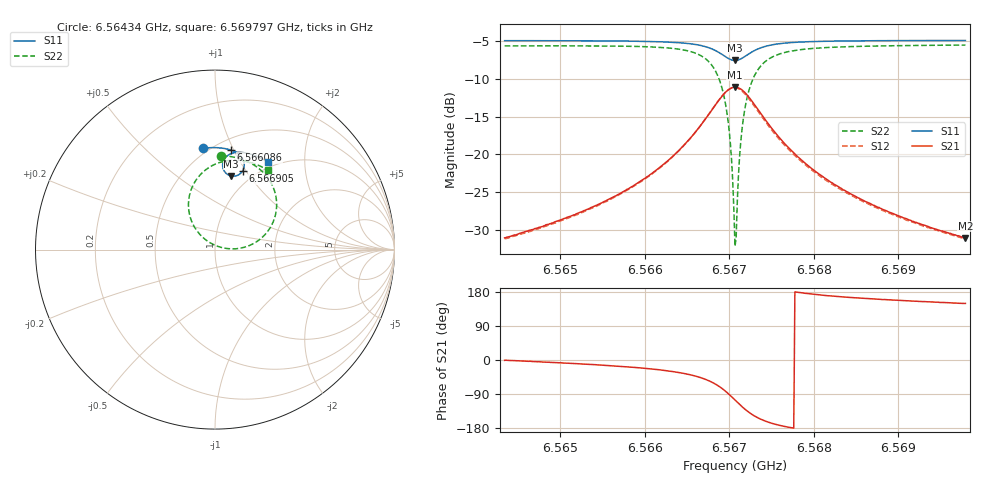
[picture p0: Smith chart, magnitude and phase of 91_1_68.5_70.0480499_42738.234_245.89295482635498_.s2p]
#  HZ  S  RI  R  50.00
! Rohde & Schwarz Vector Network Analyzer
! Rohde-Schwarz,ZNB20-2Port,1311601062101988,3.16
! Created: UTC 3/20/2024, 5:07:48 PM
! freq[Hz]  re:S11  im:S11  re:S21  im:S21  re:S12  im:S12  re:S22  im:S22
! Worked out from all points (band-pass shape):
!   401 points, 6.56434 GHz to 6.569797 GHz, reference 50 ohm
!   highest |S21| = -11.06 dB at 6.567068 GHz (marker M1); lowest = -31.1 dB at 6.569797 GHz (marker M2)
!   |S21| within 3 dB of the highest: 6.566797 GHz to 6.567342 GHz (544.7 kHz wide, 0.00829 % of centre)
!   lowest |S11| = -7.5 dB at 6.567068 GHz (marker M3), VSWR 2.45, Z = 41.3 + j41.2 ohm
!   |S11| at or under -10 dB: nowhere
!   |S22| runs from -32.2 to -5.5 dB; largest |S21 - S12| = 0.013
!   S11 on the Smith chart (normalised r, x): 6.56434 GHz: 0.47, +0.78; 6.566086 GHz: 0.60, +0.97; 6.566905 GHz: 0.86, +0.97; 6.569797 GHz: 0.92, +1.33
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6.56434e9  -0.0642 0.5654  0.0279 -0.000439  0.0274 -0.000693  0.0354 0.5242
6.5652541e9  0.0106 0.5679  0.0409 -0.00761  0.0402 -0.0081  0.1216 0.511
6.5660862e9  0.0879 0.5546  0.0684 -0.0303  0.0675 -0.0309  0.2288 0.4634
6.5661681e9  0.0965 0.5516  0.073 -0.0354  0.0719 -0.0362  0.2427 0.453
6.5664818e9  0.1327 0.5311  0.0952 -0.0698  0.0936 -0.0711  0.3045 0.3852
6.5666865e9  0.1562 0.5013  0.1078 -0.1213  0.1054 -0.1238  0.3413 0.2854
6.5668093e9  0.1629 0.47  0.1006 -0.1759  0.0962 -0.1791  0.3338 0.1818
6.5669047e9  0.1541 0.4387  0.068 -0.2297  0.0606 -0.2326  0.276 0.0809
6.5669866e9  0.1287 0.4153  0.00774 -0.2676  -0.00303 -0.2677  0.1656 0.0135
6.5670139e9  0.1165 0.4108  -0.0186 -0.2733  -0.0302 -0.2719  0.1174 0.00458
6.5670548e9  0.0966 0.4094  -0.0612 -0.2725  -0.0729 -0.2679  0.0418 0.0103
6.5670684e9  0.0898 0.4104  -0.0754 -0.2694  -0.0867 -0.2636  0.0172 0.0175
6.5670821e9  0.0832 0.4122  -0.0889 -0.2648  -0.1001 -0.2581  -0.0066 0.0272
6.5670957e9  0.0769 0.4148  -0.1021 -0.2589  -0.1128 -0.2513  -0.0289 0.0391
6.567123e9  0.0656 0.4218  -0.126 -0.2437  -0.135 -0.2345  -0.0685 0.0687
6.5671639e9  0.0526 0.4359  -0.1539 -0.2147  -0.1604 -0.204  -0.1131 0.1233
6.5672185e9  0.0436 0.4576  -0.1753 -0.1717  -0.1782 -0.1606  -0.1431 0.2011
6.5672867e9  0.0437 0.4829  -0.1815 -0.1222  -0.1811 -0.1127  -0.1449 0.2877
6.5675323e9  0.0811 0.5308  -0.1395 -0.0275  -0.1364 -0.0233  -0.0488 0.447
6.5679825e9  0.1442 0.5422  -0.0795 0.00856  -0.0777 0.0098  0.087 0.4974
6.5688965e9  0.229 0.5211  -0.0385 0.015  -0.0376 0.0153  0.217 0.4792
6.5697969e9  0.2953 0.4886  -0.0239 0.0142  -0.0234 0.0144  0.2953 0.4426
